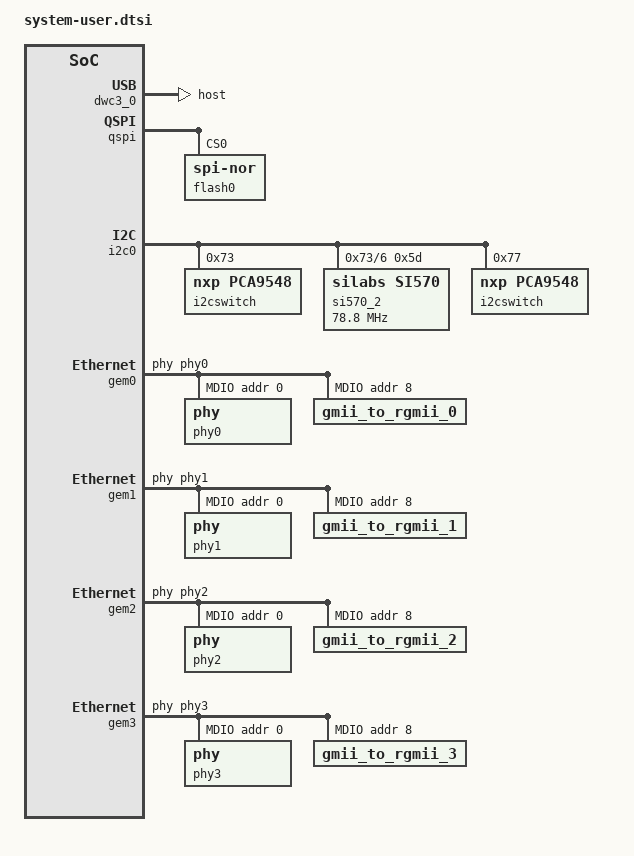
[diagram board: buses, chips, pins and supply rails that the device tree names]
/include/ "system-conf.dtsi"
/ {
};

/* default */

/* SD */

&sdhci1 {
	// disable-wp;
	no-1-8-v;

};

/* USB  */

&dwc3_0 {
    status = "okay";
    dr_mode = "host";
};

/* QSPI */

&qspi {
    #address-cells = <1>;
    #size-cells = <0>;
    status = "okay";
    flash0: flash@0 {
        compatible = "jedec,spi-nor";
        reg = <0x0>;
        #address-cells = <1>;
        #size-cells = <1>;
    };
};

/* I2C */

&i2c0 {
    i2cswitch@73 { // u
        compatible = "nxp,pca9548";
        #address-cells = <1>;
        #size-cells = <0>;
        reg = <0x73>;
        i2c-mux-idle-disconnect;

        i2c@2 { // PCIe
            #address-cells = <1>;
            #size-cells = <0>;
            reg = <2>;
        };
        i2c@3 { // i2c SFP
            #address-cells = <1>;
            #size-cells = <0>;
            reg = <3>;
        };
        i2c@4 { // i2c SFP
            #address-cells = <1>;
            #size-cells = <0>;
            reg = <4>;
        };
        i2c@5 { // i2c EEPROM
            #address-cells = <1>;
            #size-cells = <0>;
            reg = <5>;
        };
        i2c@6 { // i2c FMC
            #address-cells = <1>;
            #size-cells = <0>;
            reg = <6>;

            si570_2: clock-generator3@5d {
                #clock-cells = <0>;
                compatible = "silabs,si570";
                reg = <0x5d>;
                temperature-stability = <50>;
                factory-fout = <156250000>;
                clock-frequency = <78800000>;
            };
        };
        i2c@7 { // i2c USB HUB
            #address-cells = <1>;
            #size-cells = <0>;
            reg = <7>;
        };
    };
    i2cswitch@77 { // u
        compatible = "nxp,pca9548";
        #address-cells = <1>;
        #size-cells = <0>;
        reg = <0x77>;
        i2c-mux-idle-disconnect;
        i2c@0 { // i2c PMOD
            #address-cells = <1>;
            #size-cells = <0>;
            reg = <0>;
        };
        i2c@1 { // i2c Audio Codec
            #address-cells = <1>;
            #size-cells = <0>;
            reg = <1>;
			/*
            adau1761: adau1761@38 {
                compatible = "adi,adau1761";
                reg = <0x38>;
            };
			*/
        };
        i2c@2 { // i2c FireFly A
            #address-cells = <1>;
            #size-cells = <0>;
            reg = <2>;
        };
        i2c@3 { // i2c FireFly B
            #address-cells = <1>;
            #size-cells = <0>;
            reg = <3>;
        };
        i2c@4 { // i2c PLL
            #address-cells = <1>;
            #size-cells = <0>;
            reg = <4>;
        };
        i2c@5 { // i2c SC
            #address-cells = <1>;
            #size-cells = <0>;
            reg = <5>;
        };
        i2c@6 { // i2c
            #address-cells = <1>;
            #size-cells = <0>;
            reg = <6>;
        };
        i2c@7 { // i2c
            #address-cells = <1>;
            #size-cells = <0>;
            reg = <7>;
        };
    };
};

/* UNUSED DMA disable */

&lpd_dma_chan1 {
    status = "disabled";
};
&lpd_dma_chan2 {
    status = "disabled";
};
&lpd_dma_chan3 {
    status = "disabled";
};
&lpd_dma_chan4 {
    status = "disabled";
};
&lpd_dma_chan5 {
    status = "disabled";
};
&lpd_dma_chan6 {
    status = "disabled";
};
&lpd_dma_chan7 {
    status = "disabled";
};
&lpd_dma_chan8 {
    status = "disabled";
};

    &gem0 {
        local-mac-address = [00 0a 35 00 01 22];
        phy-handle = <&phy0>;
        status = "okay";
        xlnx,has-mdio = <0x1>;
        psu_ethernet_0_mdio: mdio {
                #address-cells = <1>;
                #size-cells = <0>;
                phy0: phy@0 {
                        device_type = "ethernet-phy";
                        reg = <0>;
                };
                gmii_to_rgmii_0: gmii_to_rgmii_0@8 {
                        phy-handle = <&phy0>;
                        reg = <8>;
                };
        };
    };  
      
    &gem1 {
        local-mac-address = [00 0a 35 00 01 23];
        phy-handle = <&phy1>;
        status = "okay";
        xlnx,has-mdio = <0x1>;
        psu_ethernet_1_mdio: mdio {
                #address-cells = <1>;
                #size-cells = <0>;
                phy1: phy@0 {
                        device_type = "ethernet-phy";
                        reg = <0>;
                };
                gmii_to_rgmii_1: gmii_to_rgmii_1@8 {
                        phy-handle = <&phy1>;
                        reg = <8>;
                };
        };
    };  
      
    &gem2 {
        local-mac-address = [00 0a 35 00 01 24];
        phy-handle = <&phy2>;
        status = "okay";
        xlnx,has-mdio = <0x1>;
        psu_ethernet_2_mdio: mdio {
                #address-cells = <1>;
                #size-cells = <0>;
                phy2: phy@0 {
                        device_type = "ethernet-phy";
                        reg = <0>;
                };
                gmii_to_rgmii_2: gmii_to_rgmii_2@8 {
                        phy-handle = <&phy2>;
                        reg = <8>;
                };
        };
    };  
      
    &gem3 {
        local-mac-address = [00 0a 35 00 01 25];
        phy-handle = <&phy3>;
        status = "okay";
        xlnx,has-mdio = <0x1>;
        psu_ethernet_3_mdio: mdio {
                #address-cells = <1>;
                #size-cells = <0>;
                phy3: phy@0 {
                        device_type = "ethernet-phy";
                        reg = <0>;
                };
                gmii_to_rgmii_3: gmii_to_rgmii_3@8 {
                        phy-handle = <&phy3>;
                        reg = <8>;
                };
        };
    };  
      
#include "port-config.dtsi"

